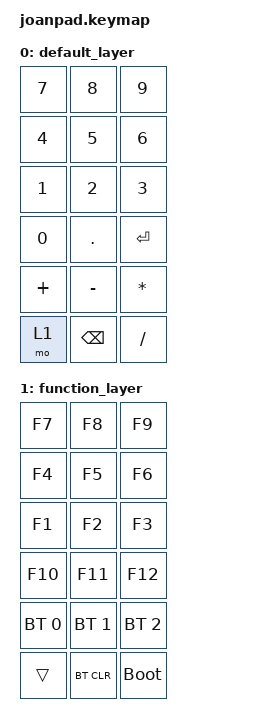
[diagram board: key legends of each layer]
/*
 * Copyright (c) 2024 Joan
 * SPDX-License-Identifier: MIT
 */

#include <behaviors.dtsi>
#include <dt-bindings/zmk/keys.h>
#include <dt-bindings/zmk/bt.h>
#include <dt-bindings/zmk/outputs.h>

/ {
    keymap {
        compatible = "zmk,keymap";

        default_layer {
            // Basic numpad/function layout
            // Customize as needed for your workflow
            bindings = <
                &kp N7      &kp N8      &kp N9
                &kp N4      &kp N5      &kp N6
                &kp N1      &kp N2      &kp N3
                &kp N0      &kp DOT     &kp ENTER
                &kp PLUS    &kp MINUS   &kp STAR
                &mo 1       &kp BSPC    &kp SLASH
            >;
        };

        function_layer {
            // Function/system layer
            bindings = <
                &kp F7      &kp F8      &kp F9
                &kp F4      &kp F5      &kp F6
                &kp F1      &kp F2      &kp F3
                &kp F10     &kp F11     &kp F12
                &bt BT_SEL 0 &bt BT_SEL 1 &bt BT_SEL 2
                &trans      &bt BT_CLR  &bootloader
            >;
        };
    };
};
